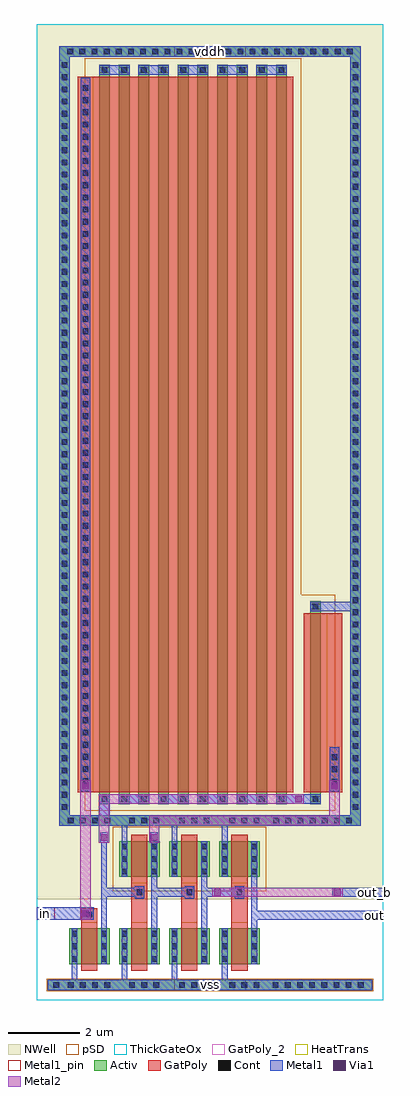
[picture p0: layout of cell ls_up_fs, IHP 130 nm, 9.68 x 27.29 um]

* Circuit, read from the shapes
.subckt ls_up_fs in out out_b vddh vss
XM1 n1 in vss vss sg13_hv_nmos w=1u l=0.45u
XM2 n2 n1 vss vss sg13_hv_nmos w=1u l=0.45u
XM3 out_b n2 vss vss sg13_hv_nmos w=1u l=0.45u
XM4 out out_b vss vss sg13_hv_nmos w=1u l=0.45u
XM5 n3 in vddh vddh sg13_hv_pmos w=0.3u l=20u
XM6 n3 in n4 vddh sg13_hv_pmos w=0.3u l=20u
XM7 n2 n1 vddh vddh sg13_hv_pmos w=1u l=0.45u
XM8 n5 in n4 vddh sg13_hv_pmos w=0.3u l=20u
XM9 n5 in n6 vddh sg13_hv_pmos w=0.3u l=20u
XM10 n7 in n6 vddh sg13_hv_pmos w=0.3u l=20u
XM11 out_b n2 vddh vddh sg13_hv_pmos w=1u l=0.45u
XM12 n7 in n8 vddh sg13_hv_pmos w=0.3u l=20u
XM13 n9 in n8 vddh sg13_hv_pmos w=0.3u l=20u
XM14 out out_b vddh vddh sg13_hv_pmos w=1u l=0.45u
XM15 n9 in n10 vddh sg13_hv_pmos w=0.3u l=20u
XM16 n11 in n10 vddh sg13_hv_pmos w=0.3u l=20u
XM17 n11 in n1 vddh sg13_hv_pmos w=0.3u l=20u
XM18 vddh n2 n1 vddh sg13_hv_pmos w=0.3u l=5u
.ends

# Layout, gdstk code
from math import pi, radians
import gdstk
lib = gdstk.Library(unit=1e-6, precision=1e-09)
def R(c, l, rs):  # rectangles x0, y0, x1, y1
    for r in rs: c.add(gdstk.rectangle(r[:2], r[2:], *l))
def A(c, l, x, y, w, h, nx, ny, dx, dy):  # array of equal rectangles
    R(c, l, [(x+i*dx, y+j*dy, x+i*dx+w, y+j*dy+h) for i in range(nx) for j in range(ny)])
Activ = (1, 0)
GatPoly = (5, 0)
GatPoly_2 = (5, 2)
Cont = (6, 0)
Metal1 = (8, 0)
Metal1_pin = (8, 2)
Metal2 = (10, 0)
pSD = (14, 0)
Via1 = (19, 0)
NWell = (31, 0)
ThickGateOx = (44, 0)
HeatTrans = (51, 0)

efs_pmoshv_w1_l0p45 = lib.new_cell('efs_pmosHV_w1_l0p45')
R(efs_pmoshv_w1_l0p45, Activ, [(0,0,0.3,0.3), (0,0,1.13,1), (0.83,0,1.13,0.3)])
R(efs_pmoshv_w1_l0p45, GatPoly, [(0.34,-0.18,0.79,1.18)])
R(efs_pmoshv_w1_l0p45, GatPoly_2, [(0.34,-0.18,0.79,1.18)])
A(efs_pmoshv_w1_l0p45, Cont, 0.07, 0.07, 0.16, 0.16, 1, 3, 0, 0.35)
A(efs_pmoshv_w1_l0p45, Cont, 0.9, 0.07, 0.16, 0.16, 1, 3, 0, 0.35)
R(efs_pmoshv_w1_l0p45, Metal1, [(0.07,0,0.23,1), (0.9,0,1.06,1)])
R(efs_pmoshv_w1_l0p45, Metal1_pin, [(0.07,0,0.23,1), (0.9,0,1.06,1)])
R(efs_pmoshv_w1_l0p45, pSD, [(-0.18,-0.4,1.31,1.4)])
R(efs_pmoshv_w1_l0p45, NWell, [(-0.62,-0.62,1.75,1.62)])
R(efs_pmoshv_w1_l0p45, ThickGateOx, [(-0.62,-0.62,1.75,1.62)])
R(efs_pmoshv_w1_l0p45, HeatTrans, [(0.34,-0.18,0.79,1.18)])
efs_pmoshv_w1_l0p45.add(gdstk.Label('pmosHV', (0.565,0.5), layer=63, texttype=0))
efs_pmoshv_w1_l0p45.add(gdstk.Label('pmos', (0.565,0.5), layer=51, texttype=0))

efs_nmoshv_w1_l0p45 = lib.new_cell('efs_nmosHV_w1_l0p45')
R(efs_nmoshv_w1_l0p45, Activ, [(0,0,0.3,0.3), (0,0,1.13,1), (0.83,0,1.13,0.3)])
R(efs_nmoshv_w1_l0p45, GatPoly, [(0.34,-0.18,0.79,1.18)])
R(efs_nmoshv_w1_l0p45, GatPoly_2, [(0.34,-0.18,0.79,1.18)])
A(efs_nmoshv_w1_l0p45, Cont, 0.07, 0.07, 0.16, 0.16, 1, 3, 0, 0.35)
A(efs_nmoshv_w1_l0p45, Cont, 0.9, 0.07, 0.16, 0.16, 1, 3, 0, 0.35)
R(efs_nmoshv_w1_l0p45, Metal1, [(0.07,0,0.23,1), (0.9,0,1.06,1)])
R(efs_nmoshv_w1_l0p45, Metal1_pin, [(0.07,0,0.23,1), (0.9,0,1.06,1)])
R(efs_nmoshv_w1_l0p45, ThickGateOx, [(-0.27,-0.52,1.4,1.52)])
R(efs_nmoshv_w1_l0p45, HeatTrans, [(0.34,-0.18,0.79,1.18)])
efs_nmoshv_w1_l0p45.add(gdstk.Label('nmosHV', (0.565,0.5), layer=63, texttype=0))
efs_nmoshv_w1_l0p45.add(gdstk.Label('nmosHV', (0.565,0.5), layer=51, texttype=0))

efs_inv_hv = lib.new_cell('efs_inv_hv')
R(efs_inv_hv, Activ, [(0,0,1.255,0.3), (0,4.6,1.255,4.9)])
R(efs_inv_hv, GatPoly, [(0.34,1.91,0.79,2.99)])
A(efs_inv_hv, Cont, 0.28, 0.07, 0.16, 0.16, 3, 2, 0.34, 4.6)
R(efs_inv_hv, Cont, [(0.485,2.66,0.645,2.82)])
R(efs_inv_hv, Metal1, [(0,0,1.255,0.3), (0.07,0.3,0.23,0.73), (0.9,1.73,1.06,3.17), (0.435,2.56,0.695,2.91), (0.07,4.17,0.23,4.6), (0,4.6,1.255,4.9)])
R(efs_inv_hv, pSD, [(-0.03,-0.03,1.285,0.33)])
R(efs_inv_hv, NWell, [(-0.62,2.55,1.875,5.52)])
R(efs_inv_hv, ThickGateOx, [(-0.27,-0.27,1.525,5.17)])
efs_inv_hv.add(gdstk.Reference(efs_pmoshv_w1_l0p45, (0,3.17)))
efs_inv_hv.add(gdstk.Reference(efs_nmoshv_w1_l0p45, (0,0.73)))
efs_inv_hv.add(gdstk.Label('P', (0.565,3.67), layer=63, texttype=0))
efs_inv_hv.add(gdstk.Label('N', (0.565,1.23), layer=63, texttype=0))

efs_xn1 = lib.new_cell('efs_xn1')
R(efs_xn1, Activ, [(-0.125,0,1.235,0.3), (-0.125,4.6,1.235,4.9)])
R(efs_xn1, GatPoly, [(0.34,1.91,0.79,2.3)])
A(efs_xn1, Cont, -0.035, 0.07, 0.16, 0.16, 4, 2, 0.34, 4.6)
R(efs_xn1, Cont, [(0.485,2.04,0.645,2.2)])
R(efs_xn1, Metal1, [(-0.125,0,1.235,0.3), (0.07,0.3,0.23,0.73), (0.9,1.73,1.06,4.42), (0.435,1.97,0.695,2.32), (0.875,4.13,1.085,4.42), (-0.125,4.6,1.235,4.9)])
R(efs_xn1, pSD, [(-0.155,-0.03,1.265,0.33)])
R(efs_xn1, Via1, [(0.885,4.18,1.075,4.37)])
R(efs_xn1, NWell, [(-0.745,2.55,1.855,5.52)])
R(efs_xn1, ThickGateOx, [(-0.395,-0.27,1.505,5.17)])
efs_xn1.add(gdstk.Reference(efs_nmoshv_w1_l0p45, (0,0.73)))
efs_xn1.add(gdstk.Label('XN1', (0.565,1.23), layer=63, texttype=0))

efs_pmoshv_w0p3_l20 = lib.new_cell('efs_pmosHV_w0p3_l20')
R(efs_pmoshv_w0p3_l20, Activ, [(0,0,0.3,0.3), (0,0,20.68,0.3), (20.38,0,20.68,0.3)])
R(efs_pmoshv_w0p3_l20, GatPoly, [(0.34,-0.18,20.34,0.48)])
R(efs_pmoshv_w0p3_l20, GatPoly_2, [(0.34,-0.18,20.34,0.48)])
R(efs_pmoshv_w0p3_l20, Cont, [(0.07,0.07,0.23,0.23), (20.45,0.07,20.61,0.23)])
R(efs_pmoshv_w0p3_l20, Metal1, [(0.07,0,0.23,0.3), (20.45,0,20.61,0.3)])
R(efs_pmoshv_w0p3_l20, Metal1_pin, [(0.07,0,0.23,0.3), (20.45,0,20.61,0.3)])
R(efs_pmoshv_w0p3_l20, pSD, [(-0.18,-0.4,20.86,0.7)])
R(efs_pmoshv_w0p3_l20, NWell, [(-0.62,-0.62,21.3,0.92)])
R(efs_pmoshv_w0p3_l20, ThickGateOx, [(-0.62,-0.62,21.3,0.92)])
R(efs_pmoshv_w0p3_l20, HeatTrans, [(0.34,-0.18,20.34,0.48)])
efs_pmoshv_w0p3_l20.add(gdstk.Label('pmosHV', (10.34,0.15), layer=63, texttype=0))
efs_pmoshv_w0p3_l20.add(gdstk.Label('pmos', (10.34,0.15), layer=51, texttype=0))

efs_pmoshv_w0p3_l5 = lib.new_cell('efs_pmosHV_w0p3_l5')
R(efs_pmoshv_w0p3_l5, Activ, [(0,0,0.3,0.3), (0,0,5.68,0.3), (5.38,0,5.68,0.3)])
R(efs_pmoshv_w0p3_l5, GatPoly, [(0.34,-0.18,5.34,0.48)])
R(efs_pmoshv_w0p3_l5, GatPoly_2, [(0.34,-0.18,5.34,0.48)])
R(efs_pmoshv_w0p3_l5, Cont, [(0.07,0.07,0.23,0.23), (5.45,0.07,5.61,0.23)])
R(efs_pmoshv_w0p3_l5, Metal1, [(0.07,0,0.23,0.3), (5.45,0,5.61,0.3)])
R(efs_pmoshv_w0p3_l5, Metal1_pin, [(0.07,0,0.23,0.3), (5.45,0,5.61,0.3)])
R(efs_pmoshv_w0p3_l5, pSD, [(-0.18,-0.4,5.86,0.7)])
R(efs_pmoshv_w0p3_l5, NWell, [(-0.62,-0.62,6.3,0.92)])
R(efs_pmoshv_w0p3_l5, ThickGateOx, [(-0.62,-0.62,6.3,0.92)])
R(efs_pmoshv_w0p3_l5, HeatTrans, [(0.34,-0.18,5.34,0.48)])
efs_pmoshv_w0p3_l5.add(gdstk.Label('pmosHV', (2.84,0.15), layer=63, texttype=0))
efs_pmoshv_w0p3_l5.add(gdstk.Label('pmos', (2.84,0.15), layer=51, texttype=0))

efs_ls_core = lib.new_cell('efs_ls_core')
R(efs_ls_core, Activ, [(0.3,0,9.38,0.3), (0.62,4.6,9.06,4.9), (0.62,4.6,0.92,26.4), (8.76,4.6,9.06,26.4), (0.62,26.1,9.06,26.4)])
R(efs_ls_core, GatPoly, [(1.14,5.54,1.74,25.54), (7.94,5.54,8.54,10.54)])
A(efs_ls_core, Cont, 6.595, 0.07, 0.16, 0.16, 8, 1, 0.34, 0)
A(efs_ls_core, Cont, 6.61, 4.67, 0.16, 0.16, 7, 1, 0.34, 0)
A(efs_ls_core, Cont, 0.69, 5.05, 0.16, 0.16, 1, 62, 0, 0.34)
A(efs_ls_core, Cont, 8.83, 5.05, 0.16, 0.16, 1, 62, 0, 0.34)
A(efs_ls_core, Cont, 8.24, 5.76, 0.16, 0.16, 1, 3, 0, 0.34)
A(efs_ls_core, Cont, 1.28, 5.77, 0.16, 0.16, 1, 58, 0, 0.34)
A(efs_ls_core, Cont, 0.85, 26.17, 0.16, 0.16, 24, 1, 0.34, 0)
R(efs_ls_core, Cont, [(0.46,0.07,0.62,0.23)])
A(efs_ls_core, Metal1, 1.8, 2.61, 1.065, 0.26, 3, 1, 1.4, 0)
A(efs_ls_core, Metal1, 2.29, 5.22, 0.85, 0.26, 4, 1, 1.1, 0)
A(efs_ls_core, Metal1, 1.74, 25.6, 0.85, 0.26, 5, 1, 1.1, 0)
R(efs_ls_core, Metal1, [(0.3,0,9.38,0.3), (0,1.97,1.465,2.32), (6,1.97,9.68,2.23), (8.255,2.61,9.68,2.87), (3.175,4.13,3.385,4.42), (0.62,4.6,9.06,4.9), (0.62,4.6,0.92,26.4), (8.76,4.6,9.06,26.4), (1.74,4.9,2.04,5.48), (6.69,5.22,7.94,5.48), (1.23,5.56,1.49,25.52), (8.19,5.56,8.45,6.8), (7.64,10.6,9.06,10.86), (0.62,26.1,9.06,26.4)])
R(efs_ls_core, Metal2, [(1.215,1.97,1.505,5.87), (4.905,2.61,8.545,2.87), (1.735,4.13,2.025,5.48), (3.135,4.13,3.425,4.88), (3.135,4.62,8.465,4.88), (8.175,4.62,8.465,5.87), (1.735,5.22,7.46,5.48)])
R(efs_ls_core, pSD, [(0.27,-0.03,9.41,0.33)])
R(efs_ls_core, Via1, [(1.265,2.05,1.455,2.24), (4.955,2.645,5.145,2.835), (8.305,2.645,8.495,2.835), (3.185,4.18,3.375,4.37), (7.22,5.255,7.41,5.445), (1.265,5.625,1.455,5.815), (8.225,5.625,8.415,5.815)])
R(efs_ls_core, NWell, [(0,2.55,9.68,27.02)])
R(efs_ls_core, ThickGateOx, [(0,-0.27,9.68,27.02)])
efs_ls_core.add(gdstk.Reference(efs_inv_hv, (2.3,0)))
efs_ls_core.add(gdstk.Reference(efs_inv_hv, (3.7,0)))
efs_ls_core.add(gdstk.Reference(efs_inv_hv, (5.1,0)))
efs_ls_core.add(gdstk.Reference(efs_xn1, (0.9,0)))
efs_ls_core.add(gdstk.Reference(efs_pmoshv_w0p3_l20, (2.04,5.2), rotation=pi/2))
efs_ls_core.add(gdstk.Reference(efs_pmoshv_w0p3_l20, (2.59,5.2), rotation=pi/2))
efs_ls_core.add(gdstk.Reference(efs_pmoshv_w0p3_l20, (3.14,5.2), rotation=pi/2))
efs_ls_core.add(gdstk.Reference(efs_pmoshv_w0p3_l20, (3.69,5.2), rotation=pi/2))
efs_ls_core.add(gdstk.Reference(efs_pmoshv_w0p3_l20, (4.24,5.2), rotation=pi/2))
efs_ls_core.add(gdstk.Reference(efs_pmoshv_w0p3_l20, (4.79,5.2), rotation=pi/2))
efs_ls_core.add(gdstk.Reference(efs_pmoshv_w0p3_l20, (5.34,5.2), rotation=pi/2))
efs_ls_core.add(gdstk.Reference(efs_pmoshv_w0p3_l20, (5.89,5.2), rotation=pi/2))
efs_ls_core.add(gdstk.Reference(efs_pmoshv_w0p3_l20, (6.44,5.2), rotation=pi/2))
efs_ls_core.add(gdstk.Reference(efs_pmoshv_w0p3_l20, (6.99,5.2), rotation=pi/2))
efs_ls_core.add(gdstk.Reference(efs_pmoshv_w0p3_l5, (7.94,5.2), rotation=pi/2))
efs_ls_core.add(gdstk.Label('PL10', (1.89,15.54), layer=63, texttype=0))
efs_ls_core.add(gdstk.Label('PL9', (2.44,15.54), layer=63, texttype=0))
efs_ls_core.add(gdstk.Label('PL8', (2.99,15.54), layer=63, texttype=0))
efs_ls_core.add(gdstk.Label('PL7', (3.54,15.54), layer=63, texttype=0))
efs_ls_core.add(gdstk.Label('PL6', (4.09,15.54), layer=63, texttype=0))
efs_ls_core.add(gdstk.Label('PL5', (4.64,15.54), layer=63, texttype=0))
efs_ls_core.add(gdstk.Label('PL4', (5.19,15.54), layer=63, texttype=0))
efs_ls_core.add(gdstk.Label('PL3', (5.74,15.54), layer=63, texttype=0))
efs_ls_core.add(gdstk.Label('PL2', (6.29,15.54), layer=63, texttype=0))
efs_ls_core.add(gdstk.Label('PL1', (6.84,15.54), layer=63, texttype=0))
efs_ls_core.add(gdstk.Label('PF', (7.79,8.04), layer=63, texttype=0))

ls_up_fs = lib.new_cell('ls_up_fs')
R(ls_up_fs, Metal1_pin, [(3.84,0,5.84,0.3), (0,1.97,0.5,2.32), (9.18,1.97,9.68,2.23), (9.18,2.61,9.68,2.87), (3.84,26.1,5.84,26.4)])
ls_up_fs.add(gdstk.Reference(efs_ls_core, (0,0)))
ls_up_fs.add(gdstk.Label('in', (0.25,2.145), layer=8, texttype=25))
ls_up_fs.add(gdstk.Label('out', (9.43,2.1), layer=8, texttype=25))
ls_up_fs.add(gdstk.Label('out_b', (9.43,2.74), layer=8, texttype=25))
ls_up_fs.add(gdstk.Label('vddh', (4.84,26.25), layer=8, texttype=25))
ls_up_fs.add(gdstk.Label('vss', (4.84,0.15), layer=8, texttype=25))

lib.write_gds('ls_up_fs.gds')
